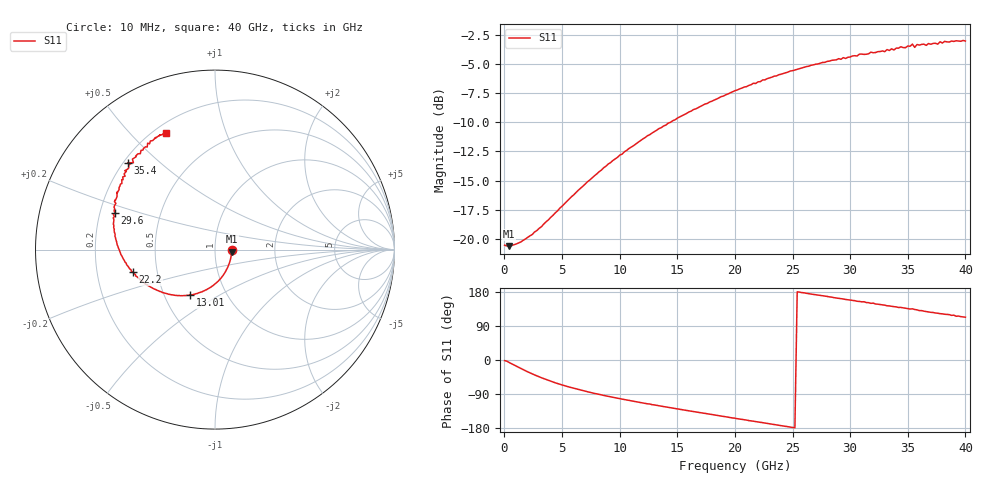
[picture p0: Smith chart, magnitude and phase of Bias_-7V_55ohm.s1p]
!Agilent Technologies,N5227A,US51270434,A.10.00.00
!Agilent N5227A: A.10.00.00
!Date: Monday, March 30, 2026 11:25:16
!Correction: S11(Full 1 Port(1))
!S1P File: Measurement: S11:
# Hz S  dB  R 50
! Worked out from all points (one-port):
!   201 points, 10 MHz to 40 GHz, reference 50 ohm
!   lowest |S11| = -20.6 dB at 409.9 MHz (marker M1), VSWR 1.20, Z = 60.2 - j1.32 ohm
!   |S11| at or under -10 dB: start of sweep to 14.39 GHz
!   S11 on the Smith chart (normalised r, x): 10 MHz: 1.21, -0.01; 13.01 GHz: 0.67, -0.37; 22.2 GHz: 0.36, -0.12; 29.6 GHz: 0.26, +0.17; 35.4 GHz: 0.22, +0.40; 40 GHz: 0.24, +0.63
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1e7  -20.55 -1.7
4.099e8  -20.64 -6.7
2.4094e9  -19.64 -36.7
5.00875e9  -17.19 -66.0
1.00075e10  -12.82 -101.8
1.300675e10  -10.80 -118.6
1.500625e10  -9.64 -129.0
1.740565e10  -8.43 -141.0
2.0005e10  -7.28 -153.6
2.220445e10  -6.50 -164.6
2.500375e10  -5.56 -177.9
2.76031e10  -4.86 169.4
2.96026e10  -4.51 159.8
3.00025e10  -4.39 157.8
3.12022e10  -4.16 153.7
3.180205e10  -3.97 149.5
3.2002e10  -4.02 150.0
3.32017e10  -3.75 143.1
3.500125e10  -3.44 135.5
3.540115e10  -3.28 135.1
3.56011e10  -3.56 133.2
3.580105e10  -3.32 132.4
3.6001e10  -3.37 130.4
3.780055e10  -3.08 122.3
3.900025e10  -3.05 118.4
3.92002e10  -2.99 115.4
3.940015e10  -3.01 116.0
4e10  -3.02 112.9
